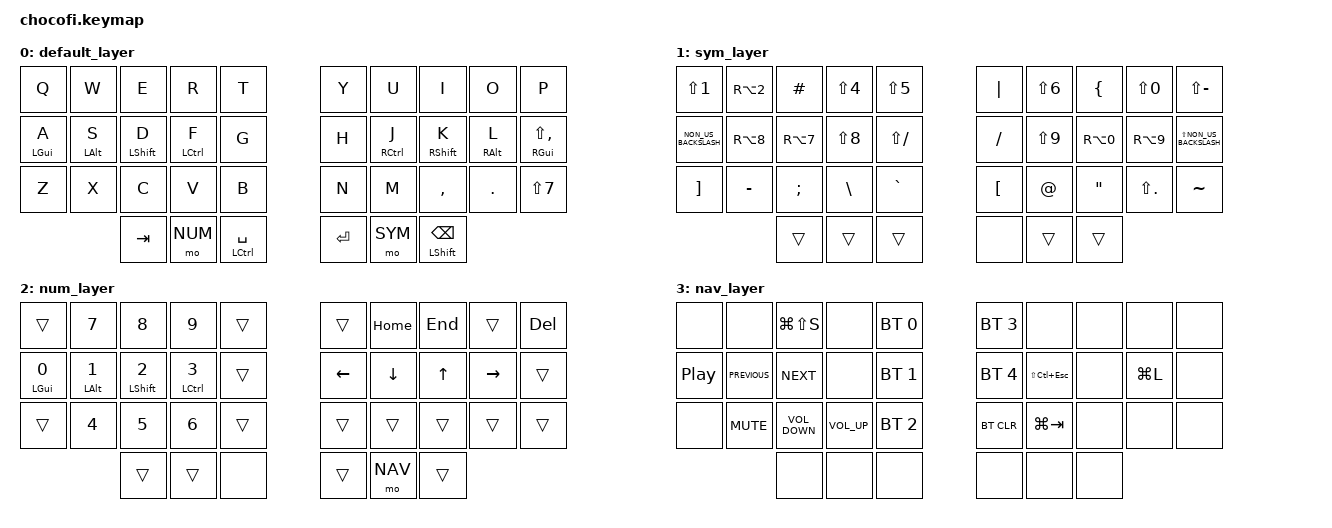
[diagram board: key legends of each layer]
/*
 * Copyright (c) 2020 The ZMK Contributors
 *
 * SPDX-License-Identifier: MIT
 */

#include <behaviors.dtsi>
#include <dt-bindings/zmk/keys.h>
#include <dt-bindings/zmk/bt.h>
#include <dt-bindings/zmk/outputs.h>


// tapping term definition
#define TAP_TERM_MS 200
#define QUICK_TAP_MS 250

#define BASE 0
#define SYM 1
#define NUM 2
#define NAV 3

#define LEFT_KEYS 0 1 2 3 4 10 11 12 13 14 20 21 22 23 24 // left-hand keys
#define RIGHT_KEYS 5 6 7 8 9 15 16 17 18 19 25 26 27 28 29 // right-hand keys
#define THUMBS 30 31 32 33 34 35 // thumb keys

/ {
    behaviors {
        // HOME ROW MODS
hm: homerow_mods {
      compatible = "zmk,behavior-hold-tap";
      label = "HOMEROW_MODS";
      #binding-cells = <2>;
      tapping-term-ms = <150>;
      quick-tap-ms = <0>;
      flavor = "tap-preferred";
      bindings = <&kp>, <&kp>;
    };
        hml: left_hand_positional_hold_tap {
            compatible = "zmk,behavior-hold-tap";
            label = "LEFT_POSITIONAL_HOLD_TAP";
            #binding-cells = <2>;
            flavor = "balanced";
            tapping-term-ms = <TAP_TERM_MS>;
            quick-tap-ms = <QUICK_TAP_MS>;
            bindings =
                <&kp>,
                <&kp>;

            hold-trigger-key-positions = <RIGHT_KEYS THUMBS>;
            hold-trigger-on-release;
        };
        hmr: right_hand_positional_hold_tap {
            compatible = "zmk,behavior-hold-tap";
            label = "RIGHT_POSITIONAL_HOLD_TAP";
            #binding-cells = <2>;
            flavor = "balanced";
            tapping-term-ms = <TAP_TERM_MS>;
            quick-tap-ms = <QUICK_TAP_MS>;
            bindings =
                <&kp>,
                <&kp>;

            hold-trigger-key-positions = <LEFT_KEYS THUMBS>;
            hold-trigger-on-release;
        };
    };
      combos {
    compatible = "zmk,combos";

    tab {
      bindings = <&trans>;
      key-positions = <2 3>;
    };

    ctrl {
      bindings = <&kp LCTRL>;
      key-positions = <26 27>;
    };

    cmd {
      bindings = <&kp LCMD>;
      key-positions = <37 38>;
    };

    alt {
      bindings = <&kp LEFT_ALT>;
      key-positions = <39 40>;
    };

    caps_word {
      bindings = <&caps_word>;
      key-positions = <17 18>;
    };

    delete {
      bindings = <&kp DEL>;
      key-positions = <32 33>;
    };

    quickpause {
      bindings = <&kp C_PLAY_PAUSE>;
      key-positions = <15 20>;
    };

    escape {
      bindings = <&kp ESCAPE>;
      key-positions = <19 20>;
    };
 
  };
};

/ {
    keymap {
        compatible = "zmk,keymap";

        default_layer {
            // |  Q  |  W  |  E  |  R  |  T  |   |  Y  |  U   |  I  |  O  |  P  |
            // |  A  |  S  |  D  |  F  |  G  |   |  H  |  J   |  K  |  L  |  ;  |
            // |  Z  |  X  |  C  |  V  |  B  |   |  N  |  M   |  ,  |  .  |  /  |
            //             | TAB | NUM | SPC |   | ENT |  DEL | BCK |
             bindings = <
&kp Q           &kp W       &kp E         &kp R               &kp T                   &kp Y      &kp U                &kp I                 &kp O       &kp P               
&hm LGUI A      &hm LALT S  &hm LSHIFT D  &hm LCTRL F         &kp G                   &kp H      &hm RCTRL J          &hm RSHIFT K          &hm RALT L  &hm RGUI LS(COMMA)  
&kp Z           &kp X       &kp C         &kp V               &kp B                   &kp N      &kp M                &kp COMMA             &kp DOT     &kp LS(NUMBER_7)     
                            &kp TAB       &mo NUM             &hm LEFT_CONTROL SPACE  &kp ENTER  &mo SYM          &hm LSHIFT BACKSPACE
      >;
        };

        sym_layer {
            // |  ! |  @  |  #  |  $  |  %  |   |  ^  |  &   |  *  |  =  |  ?  |
            // |  < |  [  |  {  |  (  |  _  |   |  -  |  )   |  }  |  ]  |  >  |
            // |  ´ |  '  |  ç  |  ~  |  \  |   |  +  |  "   |  ª  |  ª  |  |  |
            //             |    |     |  (  |   |     |  ON  |     |
         bindings = <
&kp LS(NUMBER_1)      &kp RA(NUMBER_2)  &kp HASH          &kp LS(NUMBER_4)  &kp LS(NUMBER_5)  &kp PIPE          &kp LS(NUMBER_6)  &kp LEFT_BRACE     &kp LS(NUMBER_0)  &kp LS(MINUS)            
&kp NON_US_BACKSLASH  &kp RA(NUMBER_8)  &kp RA(NUMBER_7)  &kp LS(NUMBER_8)  &kp LS(SLASH)     &kp SLASH         &kp LS(NUMBER_9)  &kp RA(NUMBER_0)   &kp RA(N9)        &kp LS(NON_US_BACKSLASH)  
&kp RIGHT_BRACKET     &kp MINUS         &kp SEMICOLON     &kp BACKSLASH     &kp GRAVE         &kp LEFT_BRACKET  &kp AT_SIGN       &kp DOUBLE_QUOTES  &kp LS(PERIOD)            &kp TILDE                 
                                               &trans            &trans            &trans            &none       &trans            &trans
      >;    
        };
        num_layer {
            // |     |  7  |  8  |  9  |     |   |     | home |  end |      | DEL |
            // |  0  |  1  |  2  |  3  |     |   | left| down |   up | right|     |
            // |     |  4  |  5  |  6  |     |   |     |      |      |      |     |
            //             |     | ON  |     |   |     |      |      |
            
          bindings = <
&trans           &kp N7                 &kp N8                   &kp N9                     &trans       &trans          &kp HOME  &kp END        &trans     &kp DEL 
&hm LGUI N0      &hm LALT NUMBER_1      &hm LSHIFT NUMBER_2      &hm LCTRL NUMBER_3         &trans       &kp LEFT_ARROW  &kp DOWN  &kp UP_ARROW   &kp RIGHT  &trans 
&trans           &kp N4                 &kp N5                   &kp N6                     &trans       &trans          &trans    &trans         &trans     &trans 
                                        &trans                   &trans                     &none        &trans          &mo NAV     &trans
      >;
  
        };

        nav_layer {
           bindings = <
  &none             &none           &kp LG(LS(S))      &none         &bt BT_SEL 0  &bt BT_SEL 3  &none               &none  &none      &none   
  &kp C_PLAY_PAUSE  &kp C_PREVIOUS  &kp C_NEXT         &none         &bt BT_SEL 1  &bt BT_SEL 4  &kp LS(LC(ESCAPE))  &none  &kp LG(L)  &none  
   &none             &kp C_MUTE      &kp C_VOLUME_DOWN  &kp C_VOL_UP  &bt BT_SEL 2  &bt BT_CLR    &kp LG(TAB)         &none  &none      &none  
                                         &none              &none         &none         &none         &none               &none
      >;
        };
    };
};

